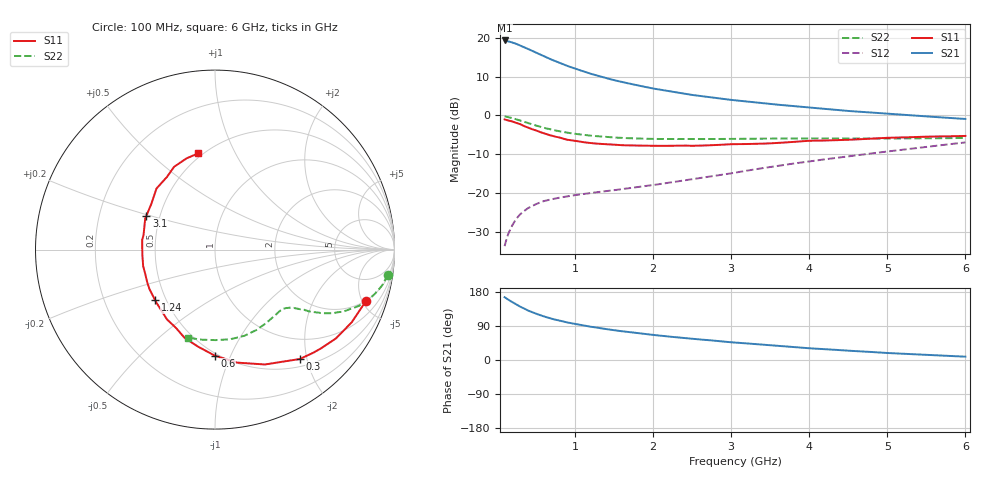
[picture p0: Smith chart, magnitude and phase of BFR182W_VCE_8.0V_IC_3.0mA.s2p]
! (c) 2015  Infineon Technologies AG, Munich
! Infineon Technologies  Discrete & RF Semiconductors
! BFR182W
! VCE =  8.0 V,  IC =  3.0 mA
! Common Emitter S-Parameters:  Nov 2015
# GHz  S  MA  R  50
!  f  S11  S21  S12  S22
! GHz  MAG  ANG  MAG  ANG  MAG  ANG  MAG  ANG
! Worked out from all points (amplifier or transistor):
!   192 points, 100 MHz to 6 GHz, reference 50 ohm
!   highest |S21| = 19.3 dB at 100 MHz (marker M1)
!   |S21| within 3 dB of that: start of sweep to 487.7 MHz
!   unconditionally stable (mu >= 1): 1.669 GHz to 3.096 GHz
!   at 440 MHz: K = 0.37, MSG = 20.1 dB, |S12| = -23.5 dB
!   at 1.7 GHz: K = 1.01, MAG = 13.0 dB, |S12| = -18.7 dB
!   at 6 GHz: K = 0.75, MSG = 3.0 dB, |S12| = -7.0 dB
!   S11 on the Smith chart (normalised r, x): 100 MHz: 1.98, -5.37; 300 MHz: 0.62, -1.88; 600 MHz: 0.48, -0.87; 1.24 GHz: 0.44, -0.30; 3.1 GHz: 0.42, +0.19; 6 GHz: 0.47, +0.72
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0.1  0.8889 -18.7  9.273 165.7  0.0206 79.3  0.9735 -8.3
0.15  0.8627 -28.0  9.028 158.7  0.0303 74.6  0.9519 -12.2
0.2  0.836 -36.3  8.739 152.3  0.0385 70.6  0.9239 -15.5
0.26  0.7945 -46.2  8.296 145.1  0.0478 65.8  0.8857 -19.2
0.3  0.7714 -52.2  7.982 140.7  0.0532 63.1  0.8606 -21.4
0.4  0.698 -66.5  7.216 130.5  0.0638 57.8  0.7967 -25.6
0.5  0.6417 -78.9  6.482 122.2  0.0717 53.5  0.7412 -28.6
0.6  0.5908 -90.1  5.835 115.2  0.0785 50.8  0.6939 -30.7
0.7  0.5489 -99.9  5.253 109.0  0.0829 49.1  0.6563 -32.1
0.8  0.52 -109.0  4.784 103.8  0.0868 48.1  0.6249 -33.4
0.92  0.483 -118.3  4.291 98.4  0.0912 47.7  0.5956 -34.2
1  0.4721 -124.5  4.025 95.1  0.0938 47.6  0.5797 -35.0
1.1  0.4535 -130.8  3.73 91.7  0.0968 47.9  0.5639 -35.7
1.24  0.4366 -139.8  3.363 86.7  0.101 48.4  0.5441 -36.7
1.42  0.4251 -149.7  2.991 81.0  0.1063 49.7  0.526 -38.0
1.6  0.4133 -158.5  2.705 75.9  0.1121 51.4  0.5131 -39.3
2.08  0.4053 -177.9  2.157 64.6  0.1299 56.3  0.4972 -43.9
2.5  0.4058 169.0  1.84 55.8  0.1502 60.1  0.4958 -48.4
3.1  0.4264 153.6  1.549 45.4  0.1865 63.4  0.4992 -56.8
4.1  0.4728 131.7  1.242 29.8  0.2634 63.7  0.5062 -73.1
5.1  0.5171 114.4  1.04 17.5  0.3527 59.8  0.504 -91.4
6  0.5441 100.0  0.901 8.8  0.4484 54.1  0.5135 -106.9
